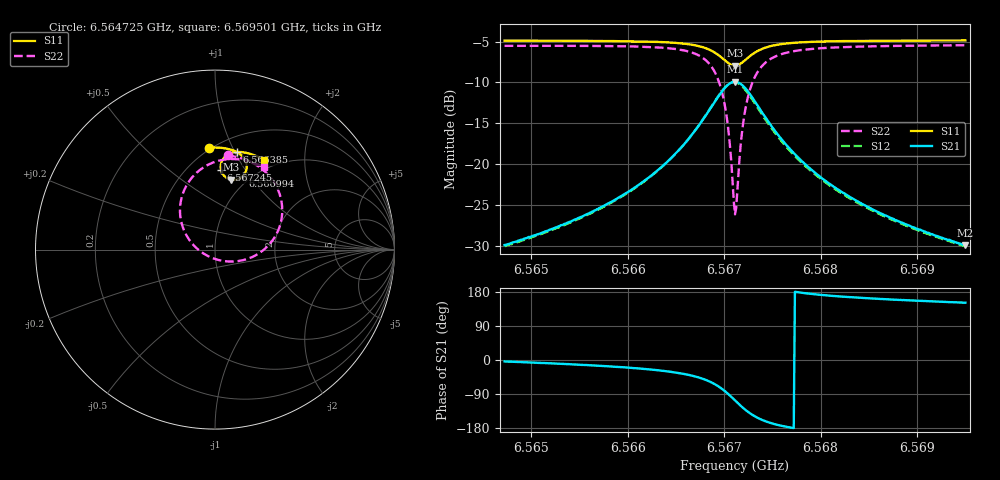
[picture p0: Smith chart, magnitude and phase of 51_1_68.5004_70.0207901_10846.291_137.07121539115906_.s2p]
#  HZ  S  RI  R  50.00
! Rohde & Schwarz Vector Network Analyzer
! Rohde-Schwarz,ZNB20-2Port,1311601062101988,3.16
! Created: UTC 3/20/2024, 4:50:50 PM
! freq[Hz]  re:S11  im:S11  re:S21  im:S21  re:S12  im:S12  re:S22  im:S22
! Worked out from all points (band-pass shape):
!   401 points, 6.564725 GHz to 6.569501 GHz, reference 50 ohm
!   highest |S21| = -9.92 dB at 6.567113 GHz (marker M1); lowest = -29.9 dB at 6.569501 GHz (marker M2)
!   |S21| within 3 dB of the highest: 6.566873 GHz to 6.567352 GHz (478.6 kHz wide, 0.00729 % of centre)
!   lowest |S11| = -8.0 dB at 6.567113 GHz (marker M3), VSWR 2.33, Z = 42.6 + j39.6 ohm
!   |S11| at or under -10 dB: nowhere
!   |S22| runs from -26.1 to -5.5 dB; largest |S21 - S12| = 0.016
!   S11 on the Smith chart (normalised r, x): 6.564725 GHz: 0.49, +0.82; 6.566385 GHz: 0.65, +1.02; 6.566994 GHz: 0.92, +0.93; 6.567245 GHz: 0.71, +0.79; 6.569501 GHz: 0.87, +1.29
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6.564725e9  -0.0331 0.5685  0.0319 -0.00216  0.0313 -0.00268  0.0709 0.5246
6.5655251e9  0.0345 0.567  0.0465 -0.0106  0.0458 -0.0112  0.1527 0.5065
6.5659788e9  0.077 0.5598  0.0623 -0.0223  0.0613 -0.0231  0.2126 0.4812
6.5663251e9  0.1142 0.5472  0.0826 -0.0427  0.0815 -0.0437  0.2738 0.4391
6.5663848e9  0.1214 0.5436  0.0873 -0.0486  0.0862 -0.0497  0.2863 0.4271
6.5666237e9  0.1522 0.5207  0.1096 -0.0879  0.1079 -0.0901  0.3434 0.3495
6.5668028e9  0.1734 0.4836  0.121 -0.1535  0.1177 -0.1571  0.3745 0.2228
6.5669102e9  0.1745 0.4455  0.1041 -0.2205  0.098 -0.2253  0.3467 0.0952
6.5669938e9  0.1556 0.4101  0.0539 -0.2809  0.0428 -0.2843  0.2515 -0.0163
6.5670416e9  0.1326 0.3943  0.00337 -0.306  -0.0106 -0.3064  0.1568 -0.0587
6.5670894e9  0.1028 0.3882  -0.0588 -0.3123  -0.0739 -0.3075  0.0433 -0.0629
6.5671132e9  0.0872 0.3901  -0.0909 -0.3059  -0.1055 -0.2986  -0.0133 -0.0475
6.5671371e9  0.0723 0.3955  -0.1212 -0.2935  -0.1344 -0.2838  -0.0652 -0.021
6.567173e9  0.0534 0.4089  -0.1593 -0.2654  -0.1695 -0.2528  -0.1282 0.0346
6.5671968e9  0.0439 0.4201  -0.1787 -0.2425  -0.1866 -0.2288  -0.1582 0.078
6.5672446e9  0.0333 0.4449  -0.2018 -0.1935  -0.2053 -0.1796  -0.1905 0.1672
6.5673401e9  0.0364 0.488  -0.2038 -0.1101  -0.2018 -0.0995  -0.1789 0.3127
6.5674834e9  0.0634 0.5236  -0.1685 -0.0411  -0.1647 -0.0351  -0.1024 0.4286
6.5676506e9  0.0952 0.5392  -0.1297 -0.00797  -0.1264 -0.00484  -0.0214 0.4807
6.5679133e9  0.1339 0.5439  -0.0912 0.00926  -0.0889 0.0108  0.0644 0.503
6.5687134e9  0.2142 0.5274  -0.0443 0.0163  -0.0433 0.0166  0.1981 0.4895
6.5695015e9  0.2752 0.5004  -0.0279 0.0153  -0.0273 0.0156  0.2742 0.4581
